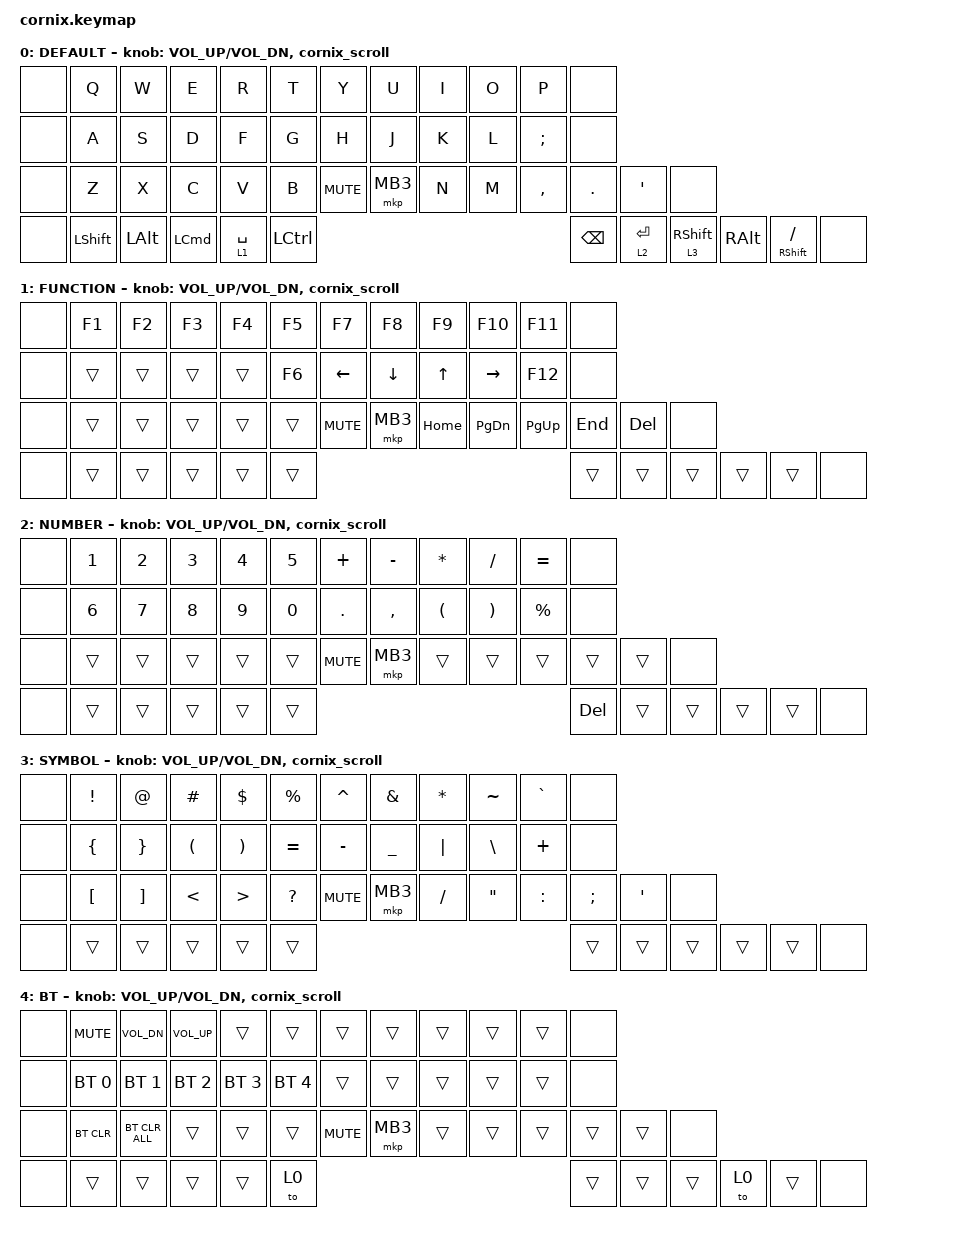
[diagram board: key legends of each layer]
/* Cornix LP adaptation of s-hiraoku/KobitoKey_QWERTY.
 * Source commit: 35b175d2717d9d09373212c6f93f6aa80deb338a
 * Generated by scripts/import_kobitokey.py; edit the adapter,
 * then regenerate the keymap/SVG and run the tests.
 * Trackball input processors are absent: Cornix has no such sensor.
 * Keyboard layers 0/1/2/3 and source BT layer 8 (now 4) remain.
 * Default Y/H/P are plain letters; trackball-only modes are removed.
 * Outer columns are &none; encoder volume/scroll/pushes match stock.
 */

#include <behaviors.dtsi>
#include <dt-bindings/zmk/bt.h>
#include <dt-bindings/zmk/keys.h>
#include <dt-bindings/zmk/pointing.h>

/ {
    behaviors {
        cornix_scroll: cornix_scroll {
            compatible = "zmk,behavior-sensor-rotate";
            #sensor-binding-cells = <0>;
            bindings = <&msc SCRL_DOWN>, <&msc SCRL_UP>;
            tap-ms = <20>;
        };
    };

    combos {
        compatible = "zmk,combos";

        /* 英数/かなは全レイヤーで有効。オート発動レイヤー滞在中でも
         * IME 切替を優先し、マウスボタン等への誤爆を防ぐ。
         * 2 本指の押下が 50ms を超えてズレると発動せず df/jk が
         * 出るため 80ms に延長。D+F / J+K のロールはローマ字にも英語にも
         * ほぼ出ないので誤発動リスクは低い。まだ取りこぼすなら 100 へ */
        combo_eisu {
            timeout-ms = <80>;
            key-positions = <15 16>;
            bindings = <&kp LANG2>;
        };

        combo_kana {
            timeout-ms = <80>;
            key-positions = <19 20>;
            bindings = <&kp LANG1>;
        };

        combo_esc {
            timeout-ms = <50>;
            layers = <0>;
            key-positions = <1 2>;
            bindings = <&kp ESC>;
        };

        combo_tab {
            timeout-ms = <50>;
            layers = <0>;
            key-positions = <13 14>;
            bindings = <&kp TAB>;
        };

        combo_bt {
            timeout-ms = <50>;
            layers = <0>;
            key-positions = <44 46>;
            bindings = <&to 4>;
        };
    };

    keymap {
        compatible = "zmk,keymap";

        default_layer {
            display-name = "DEFAULT";
            bindings = <
                &none  &kp Q  &kp W  &kp E  &kp R  &kp T  &kp Y  &kp U  &kp I  &kp O  &kp P  &none
                &none  &kp A  &kp S  &kp D  &kp F  &kp G  &kp H  &kp J  &kp K  &kp L  &kp SEMI  &none
                &none  &kp Z  &kp X  &kp C  &kp V  &kp B  &kp C_MUTE  &mkp MB3  &kp N  &kp M  &kp COMMA  &kp DOT  &kp APOS  &none
                &none  &kp LSHFT  &kp LALT  &kp LCMD  &lt_l 1 SPACE  &kp LCTRL  &kp BSPC  &lt_r 2 ENTER  &lt_r 3 RSHFT  &kp RALT  &mt RSHFT SLASH  &none
            >;
            sensor-bindings = <&inc_dec_kp C_VOL_UP C_VOL_DN &cornix_scroll>;
        };

        layer1 {
            display-name = "FUNCTION";
            bindings = <
                &none  &kp F1  &kp F2  &kp F3  &kp F4  &kp F5  &kp F7  &kp F8  &kp F9  &kp F10  &kp F11  &none
                &none  &trans  &trans  &trans  &trans  &kp F6  &kp LEFT  &kp DOWN  &kp UP  &kp RIGHT  &kp F12  &none
                &none  &trans  &trans  &trans  &trans  &trans  &kp C_MUTE  &mkp MB3  &kp HOME  &kp PG_DN  &kp PG_UP  &kp END  &kp DEL  &none
                &none  &trans  &trans  &trans  &trans  &trans  &trans  &trans  &trans  &trans  &trans  &none
            >;
            sensor-bindings = <&inc_dec_kp C_VOL_UP C_VOL_DN &cornix_scroll>;
        };

        layer2 {
            display-name = "NUMBER";
            bindings = <
                &none  &kp N1  &kp N2  &kp N3  &kp N4  &kp N5  &kp PLUS  &kp MINUS  &kp ASTRK  &kp SLASH  &kp EQUAL  &none
                &none  &kp N6  &kp N7  &kp N8  &kp N9  &kp N0  &kp DOT  &kp COMMA  &kp LPAR  &kp RPAR  &kp PRCNT  &none
                &none  &trans  &trans  &trans  &trans  &trans  &kp C_MUTE  &mkp MB3  &trans  &trans  &trans  &trans  &trans  &none
                &none  &trans  &trans  &trans  &trans  &trans  &kp DEL  &trans  &trans  &trans  &trans  &none
            >;
            sensor-bindings = <&inc_dec_kp C_VOL_UP C_VOL_DN &cornix_scroll>;
        };

        layer3 {
            display-name = "SYMBOL";
            bindings = <
                &none  &kp EXCL  &kp AT  &kp HASH  &kp DLLR  &kp PRCNT  &kp CARET  &kp AMPS  &kp ASTRK  &kp TILDE  &kp GRAVE  &none
                &none  &kp LBRC  &kp RBRC  &kp LPAR  &kp RPAR  &kp EQUAL  &kp MINUS  &kp UNDER  &kp PIPE  &kp BSLH  &kp PLUS  &none
                &none  &kp LBKT  &kp RBKT  &kp LT  &kp GT  &kp QMARK  &kp C_MUTE  &mkp MB3  &kp SLASH  &kp DQT  &kp COLON  &kp SEMI  &kp APOS  &none
                &none  &trans  &trans  &trans  &trans  &trans  &trans  &trans  &trans  &trans  &trans  &none
            >;
            sensor-bindings = <&inc_dec_kp C_VOL_UP C_VOL_DN &cornix_scroll>;
        };

        layer4 {
            display-name = "BT";
            bindings = <
                &none  &kp C_MUTE  &kp C_VOL_DN  &kp C_VOL_UP  &trans  &trans  &trans  &trans  &trans  &trans  &trans  &none
                &none  &bt BT_SEL 0  &bt BT_SEL 1  &bt BT_SEL 2  &bt BT_SEL 3  &bt BT_SEL 4  &trans  &trans  &trans  &trans  &trans  &none
                &none  &bt BT_CLR  &bt BT_CLR_ALL  &trans  &trans  &trans  &kp C_MUTE  &mkp MB3  &trans  &trans  &trans  &trans  &trans  &none
                &none  &trans  &trans  &trans  &trans  &to 0  &trans  &trans  &trans  &to 0  &trans  &none
            >;
            sensor-bindings = <&inc_dec_kp C_VOL_UP C_VOL_DN &cornix_scroll>;
        };

    };
};

/* lt (layer-tap) を hold-preferred + 短めの tapping-term に変更。
 * デフォルト (tap-preferred / 200ms) や balanced では押し方次第で
 * lt 3 RSHFT + `-` が `H` に化ける症状が残った。hold-preferred は
 * 別キーが押された瞬間に hold を確定するので、押し方を問わず Layer 入り
 * が確定する。副作用として lt 単独タップ (Space/Enter/RSHFT) を別キーと
 * 連続入力すると hold 誤判定されやすくなるため、tapping-term を 180ms
 * と短めにし、quick-tap-ms=125 で連続タップ時の取りこぼしを救う。
 *
 * require-prior-idle-ms は当初 150ms だったが、Layer 切替の反応が
 * 鈍く感じたため 90ms に短縮。タイピング後 90ms 経てば hold 判定が
 * 通常通り効くので、文章中の親指 lt も実用域。
 *
 * 注意: require-prior-idle-ms は修飾キーでは効かない (ZMK の
 * keycode_state_changed_listener は !is_mod() のキーでしか last_tapped を
 * 更新しない)。Cmd を押しっぱなしで親指 lt を 180ms 保持すると hold が
 * 確定して文字が消える。左親指の Space だけは lt_l の retro-tap で
 * 救ってある。 */
&lt {
    flavor = "hold-preferred";
    tapping-term-ms = <180>;
    quick-tap-ms = <125>;
    require-prior-idle-ms = <90>;
};

/* mt (mod-tap) も lt と同じ方針。&mt RSHFT SLASH (右親指 /) で
 * タイピング中に親指がかすって Shift+α に化けるのを防ぐため
 * require-prior-idle-ms を効かせる。 */
&mt {
    flavor = "hold-preferred";
    tapping-term-ms = <180>;
    quick-tap-ms = <125>;
    require-prior-idle-ms = <90>;
};

/ {
    behaviors {
        /* 左親指 lt。retro-tap は他のキーを押さずに離した時だけ tap へ
         * ロールバックするので、Cmd+Ctrl+Space / Cmd+Space の Space が
         * 消えなくなる (修飾キーは Space より先に押されるため hold-tap の
         * 言う『他のキーの押下』に数えられない)。Layer 1 の発動は次のキーを
         * 押す瞬間まで保留されるだけなので使い勝手は変わらない。
         * 副作用: 長押し中は Layer 1 未発動なので LED が光らない。
         * 離す時は Space を先に。修飾キーを先に離すと hold へ昇格する。
         *
         * positional hold-tap (hold-trigger-key-positions +
         * hold-trigger-on-release) は復活させないこと。hold-preferred が
         * 他キーの『押下』で hold を確定するのに対し、位置が記録されるのは
         * 『離した』時なので decide_positional_hold が常に空振りする。
         * そもそも positional は lt より後に押されたキーしか見ないため、
         * 修飾キーを先に押す並びは原理的に対象外。 */
        lt_l: lt_left_thumb {
            compatible = "zmk,behavior-hold-tap";
            #binding-cells = <2>;
            flavor = "hold-preferred";
            tapping-term-ms = <180>;
            quick-tap-ms = <125>;
            require-prior-idle-ms = <90>;
            bindings = <&mo>, <&kp>;
            retro-tap;
        };

        /* 右親指 lt。retro-tap は付けない。Layer 2/3 に入ろうとして
         * 思い直しただけで Enter が飛ぶ実害の方が大きいため。 */
        lt_r: lt_right_thumb {
            compatible = "zmk,behavior-hold-tap";
            #binding-cells = <2>;
            flavor = "hold-preferred";
            tapping-term-ms = <180>;
            quick-tap-ms = <125>;
            require-prior-idle-ms = <90>;
            bindings = <&mo>, <&kp>;
        };
    };
};
